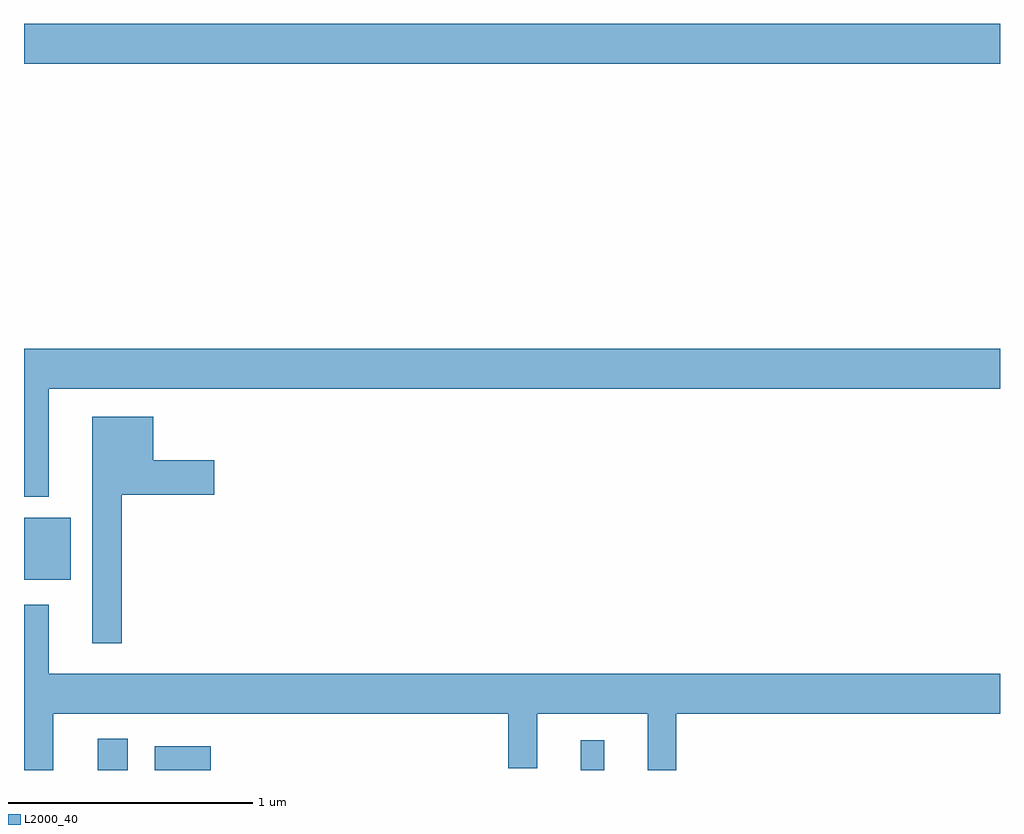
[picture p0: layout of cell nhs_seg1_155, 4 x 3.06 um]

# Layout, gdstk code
import gdstk
lib = gdstk.Library(unit=1e-6, precision=1e-09)
def R(c, l, rs):  # rectangles x0, y0, x1, y1
    for r in rs: c.add(gdstk.rectangle(r[:2], r[2:], *l))
def P(c, l, *ps):  # polygons
    for p in ps: c.add(gdstk.Polygon(p, *l))
L2000_40 = (2000, 40)

nhs_seg1_155 = lib.new_cell('nhs_seg1_155')
R(nhs_seg1_155, L2000_40, [(119.303,518.199,119.425,518.329), (119.535,518.199,119.765,518.299), (121.281,518.199,121.378,518.323), (119,518.981,119.191,519.235), (119,521.096,123,521.26)])
P(nhs_seg1_155, L2000_40, [(119.101,519.764),(123,519.764),(123,519.928),(119,519.928),(119,519.32),(119.101,519.32)],
  [(119.401,519.329),(119.779,519.329),(119.779,519.471),(119.53,519.471),(119.53,519.649),(119.279,519.649),(119.279,518.721),(119.401,518.721)],
  [(119.119,518.432),(120.985,518.432),(120.985,518.207),(121.103,518.207),(121.103,518.432),(121.556,518.432),(121.556,518.199),(121.673,518.199),(121.673,518.432),(123,518.432),(123,518.596),(119.101,518.596),(119.101,518.878),(119,518.878),(119,518.199),(119.119,518.199)])

lib.write_gds('nhs_seg1_155.gds')
